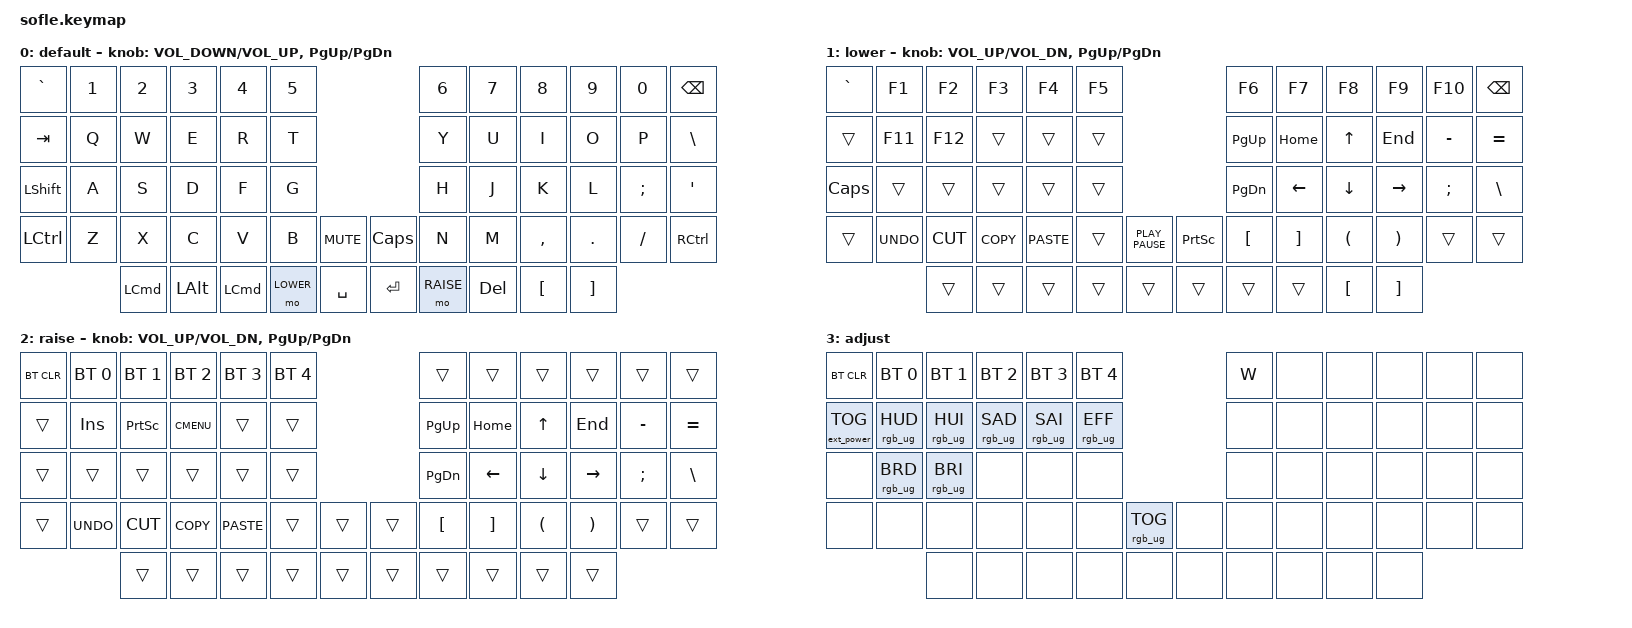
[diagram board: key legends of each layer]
/*
 * Copyright (c) 2020 The ZMK Contributors
 *
 * SPDX-License-Identifier: MIT
 */

#include <behaviors.dtsi>
#include <dt-bindings/zmk/bt.h>
#include <dt-bindings/zmk/ext_power.h>
#include <dt-bindings/zmk/keys.h>
#include <dt-bindings/zmk/rgb.h>

#define BASE 0
#define LOWER 1
#define RAISE 2
#define ADJUST 3

/ {
    // Activate ADJUST layer by pressing raise and lower

    conditional_layers {
        compatible = "zmk,conditional-layers";

        adjust_layer {
            if-layers = <LOWER RAISE>;
            then-layer = <ADJUST>;
        };
    };

    combos {
        compatible = "zmk,combos";

        Escape {
            bindings = <&gresc>;
            key-positions = <0 12>;
            layers = <0>;
        };
    };

    keymap {
        compatible = "zmk,keymap";

        default_layer {
            label = "default";

            // ------------------------------------------------------------------------------------------------------------
            // |   `   |  1  |  2  |  3   |  4   |  5   |                   |  6   |  7    |  8    |  9   |   0   |       |
            // |  ESC  |  Q  |  W  |  E   |  R   |  T   |                   |  Y   |  U    |  I    |  O   |   P   | BKSPC |
            // |  TAB  |  A  |  S  |  D   |  F   |  G   |                   |  H   |  J    |  K    |  L   |   ;   |   '   |
            // | SHIFT |  Z  |  X  |  C   |  V   |  B   |  MUTE  |  |       |  N   |  M    |  ,    |  .   |   /   | SHIFT |
            //               | GUI | ALT  | CTRL | LOWER|  ENTER |  | SPACE | RAISE| CTRL  | ALT   | GUI  |

            bindings = <
&kp GRAVE       &kp N1  &kp N2    &kp N3    &kp N4    &kp N5                              &kp N6     &kp N7   &kp N8            &kp N9             &kp N0    &kp BACKSPACE
&kp TAB         &kp Q   &kp W     &kp E     &kp R     &kp T                               &kp Y      &kp U    &kp I             &kp O              &kp P     &kp BACKSLASH
&kp LEFT_SHIFT  &kp A   &kp S     &kp D     &kp F     &kp G                               &kp H      &kp J    &kp K             &kp L              &kp SEMI  &kp SQT
&kp LCTRL       &kp Z   &kp X     &kp C     &kp V     &kp B      &kp K_MUTE    &kp CAPS   &kp N      &kp M    &kp COMMA         &kp DOT            &kp FSLH  &kp RCTRL
                        &kp LCMD  &kp LALT  &kp LCMD  &mo LOWER  &kp SPACE     &kp ENTER  &mo RAISE  &kp DEL  &kp LEFT_BRACKET  &kp RIGHT_BRACKET
            >;

            sensor-bindings =
                <&inc_dec_kp C_VOLUME_DOWN C_VOLUME_UP>,
                <&inc_dec_kp PG_UP PG_DN>;
        };

        lower_layer {
            label = "lower";

            // TODO: Some binds are waiting for shifted keycode support.
            // ------------------------------------------------------------------------------------------------------------
            // |       |  F1 |  F2 |  F3  |  F4  |  F5  |                   |  F6  |  F7   |  F8   |  F9  |  F10  |  F11  |
            // |   `   |  1  |  2  |  3   |  4   |  5   |                   |  6   |  7    |  8    |  9   |   0   |  F12  |
            // |       |  !  |  @  |  #   |  $   |  %   |                   |  ^   |  &    |  *    |  (   |   )   |   |   |
            // |       |  =  |  -  |  +   |  {   |  }   |        |  |       |  [   |  ]    |  ;    |  :   |   \   |       |
            //               |     |      |      |      |        |  |       |      |       |       |      |

            bindings = <
&kp GRAVE  &kp F1      &kp F2     &kp F3      &kp F4       &kp F5                                       &kp F6         &kp F7    &kp F8                &kp F9                 &kp F10        &kp BACKSPACE
&trans     &kp F11     &kp F12    &trans      &trans       &trans                                       &kp PAGE_UP    &kp HOME  &kp UP_ARROW          &kp END                &kp MINUS      &kp EQUAL
&kp CAPS   &trans      &trans     &trans      &trans       &trans                                       &kp PAGE_DOWN  &kp LEFT  &kp DOWN_ARROW        &kp RIGHT              &kp SEMICOLON  &kp BACKSLASH
&trans     &kp K_UNDO  &kp K_CUT  &kp K_COPY  &kp K_PASTE  &trans  &kp K_PLAY_PAUSE    &kp PRINTSCREEN  &kp LBKT       &kp RBKT  &kp LEFT_PARENTHESIS  &kp RIGHT_PARENTHESIS  &trans         &trans
                       &trans     &trans      &trans       &trans  &trans              &trans           &trans         &trans    &kp LEFT_BRACKET      &kp RIGHT_BRACKET
            >;

            sensor-bindings = <&inc_dec_kp C_VOL_UP C_VOL_DN &inc_dec_kp PG_UP PG_DN>;
        };

        raise_layer {
            label = "raise";

            // ------------------------------------------------------------------------------------------------------------
            // | BTCLR | BT1  | BT2  |  BT3  |  BT4  |  BT5 |                |      |      |       |      |       |       |
            // |       | INS  | PSCR | GUI   |       |      |                | PGUP |      |   ^   |      |       |       |
            // |       | ALT  | CTRL | SHIFT |       | CAPS |                | PGDN |   <- |   v   |  ->  |  DEL  | BKSPC |
            // |       | UNDO | CUT  | COPY  | PASTE |      |      |  |      |      |      |       |      |       |       |
            //                |      |       |       |      |      |  |      |      |      |       |      |

            bindings = <
&bt BT_CLR  &bt BT_SEL 0  &bt BT_SEL 1  &bt BT_SEL 2  &bt BT_SEL 3  &bt BT_SEL 4                    &trans            &trans             &trans                &trans                 &trans         &trans
&trans      &kp INS       &kp PSCRN     &kp K_CMENU   &trans        &trans                          &kp PG_UP         &kp HOME           &kp UP                &kp END                &kp MINUS      &kp EQUAL
&trans      &trans        &trans        &trans        &trans        &trans                          &kp PG_DN         &kp LEFT           &kp DOWN              &kp RIGHT              &kp SEMICOLON  &kp BACKSLASH
&trans      &kp K_UNDO    &kp K_CUT     &kp K_COPY    &kp K_PASTE   &trans        &trans    &trans  &kp LEFT_BRACKET  &kp RIGHT_BRACKET  &kp LEFT_PARENTHESIS  &kp RIGHT_PARENTHESIS  &trans         &trans
                          &trans        &trans        &trans        &trans        &trans    &trans  &trans            &trans             &trans                &trans
            >;

            sensor-bindings = <&inc_dec_kp C_VOL_UP C_VOL_DN &inc_dec_kp PG_UP PG_DN>;
        };

        adjust_layer {
            // ----------------------------------------------------------------------------------------------------------------------------
            // | BTCLR  |  BT1    |  BT2    |   BT3   |   BT4   |   BT5   |                  |      |      |       |      |       |       |
            // | EXTPWR | RGB_HUD | RGB_HUI | RGB_SAD | RGB_SAI | RGB_EFF |                  |      |      |       |      |       |       |
            // |        | RGB_BRD | RGB_BRI |         |         |         |                  |      |      |       |      |       |       |
            // |        |         |         |         |         |         | RGB_TOG | |      |      |      |       |      |       |       |
            //                    |         |         |         |         |         | |      |      |      |       |      |

            label = "adjust";
            bindings = <
&bt BT_CLR         &bt BT_SEL 0     &bt BT_SEL 1     &bt BT_SEL 2     &bt BT_SEL 3     &bt BT_SEL 4                               &kp W  &none  &none  &none  &none  &none
&ext_power EP_TOG  &rgb_ug RGB_HUD  &rgb_ug RGB_HUI  &rgb_ug RGB_SAD  &rgb_ug RGB_SAI  &rgb_ug RGB_EFF                            &none  &none  &none  &none  &none  &none
&none              &rgb_ug RGB_BRD  &rgb_ug RGB_BRI  &none            &none            &none                                      &none  &none  &none  &none  &none  &none
&none              &none            &none            &none            &none            &none            &rgb_ug RGB_TOG    &none  &none  &none  &none  &none  &none  &none
                                    &none            &none            &none            &none            &none              &none  &none  &none  &none  &none
            >;
        };
    };
};
